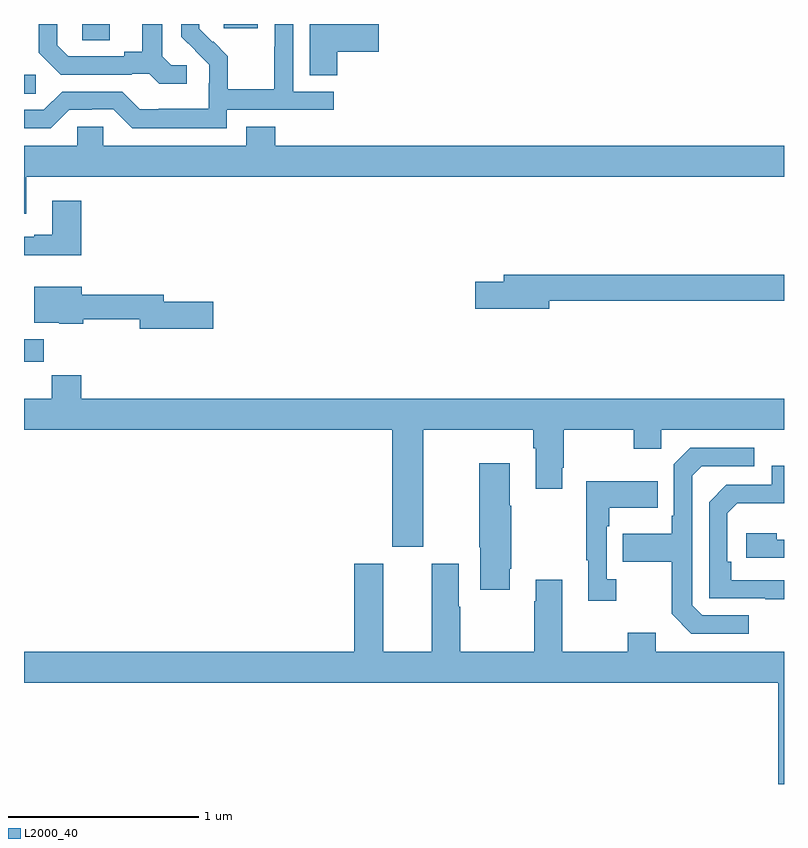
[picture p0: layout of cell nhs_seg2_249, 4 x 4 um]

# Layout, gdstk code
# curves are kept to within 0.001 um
import gdstk
lib = gdstk.Library(unit=1e-6, precision=1e-09)
def R(c, l, rs):  # rectangles x0, y0, x1, y1
    for r in rs: c.add(gdstk.rectangle(r[:2], r[2:], *l))
def P(c, l, *ps):  # polygons
    for p in ps: c.add(gdstk.Polygon(p, *l))
L2000_40 = (2000, 40)

nhs_seg2_249 = lib.new_cell('nhs_seg2_249')
R(nhs_seg2_249, L2000_40, [(123,620.022,123.104,620.14), (123,621.433,123.061,621.534), (123.306,621.715,123.451,621.8), (124.052,621.777,124.231,621.8)])
P(nhs_seg2_249, L2000_40, [(124.649,621.653),(124.867,621.653),(124.867,621.8),(124.505,621.8),(124.505,621.529),(124.649,621.529)],
  [(123.856,621.582),(123.774,621.582),(123.727,621.629),(123.727,621.8),(123.623,621.8),(123.623,621.653),(123.527,621.653),(123.527,621.63),(123.232,621.63),(123.175,621.687),(123.175,621.8),(123.078,621.8),(123.078,621.65),(123.194,621.534),(123.566,621.534),(123.566,621.537),(123.66,621.537),(123.712,621.485),(123.856,621.485)],
  [(124.068,621.348),(124.63,621.348),(124.63,621.444),(124.416,621.444),(124.416,621.8),(124.32,621.8),(124.32,621.68),(124.318,621.68),(124.318,621.457),(124.073,621.457),(124.073,621.631),(123.996,621.708),(123.993,621.705),(123.923,621.776),(123.923,621.8),(123.828,621.8),(123.828,621.734),(123.974,621.586),(123.974,621.489),(123.972,621.489),(123.972,621.355),(123.709,621.355),(123.709,621.351),(123.609,621.351),(123.516,621.444),(123.201,621.444),(123.105,621.348),(123,621.348),(123,621.252),(123.141,621.252),(123.237,621.348),(123.356,621.348),(123.356,621.351),(123.471,621.351),(123.571,621.251),(124.068,621.251)],
  [(123.013,620.996),(127,620.996),(127,621.16),(124.322,621.16),(124.322,621.259),(124.169,621.259),(124.169,621.16),(123.417,621.16),(123.417,621.258),(123.279,621.258),(123.279,621.16),(123,621.16),(123,620.802),(123.013,620.802)],
  [(123.302,620.869),(123.149,620.869),(123.149,620.692),(123.053,620.692),(123.053,620.679),(123,620.679),(123,620.582),(123.302,620.582)],
  [(125.764,620.344),(127,620.344),(127,620.48),(125.525,620.48),(125.525,620.444),(125.376,620.444),(125.376,620.302),(125.764,620.302)],
  [(123.997,620.339),(123.736,620.339),(123.736,620.375),(123.304,620.375),(123.304,620.416),(123.053,620.416),(123.053,620.228),(123.186,620.228),(123.186,620.222),(123.312,620.222),(123.312,620.247),(123.608,620.247),(123.608,620.197),(123.997,620.197)],
  [(125.101,619.664),(125.681,619.664),(125.681,619.568),(125.693,619.568),(125.693,619.353),(125.833,619.353),(125.833,619.465),(125.841,619.465),(125.841,619.664),(126.208,619.664),(126.208,619.565),(126.354,619.565),(126.354,619.664),(127,619.664),(127,619.828),(123.302,619.828),(123.302,619.952),(123.145,619.952),(123.145,619.828),(123,619.828),(123,619.664),(124.937,619.664),(124.937,619.05),(125.101,619.05)],
  [(126.814,618.687),(126.57,618.687),(126.516,618.741),(126.516,619.422),(126.567,619.473),(126.844,619.473),(126.844,619.569),(126.507,619.569),(126.42,619.482),(126.42,619.213),(126.408,619.213),(126.408,619.117),(126.151,619.117),(126.151,618.97),(126.408,618.97),(126.408,618.697),(126.513,618.591),(126.814,618.591)],
  [(125.557,618.934),(125.565,618.934),(125.565,619.265),(125.557,619.265),(125.557,619.489),(125.395,619.489),(125.395,619.045),(125.402,619.045),(125.402,618.822),(125.557,618.822)],
  [(127,618.873),(126.722,618.873),(126.722,618.97),(126.702,618.97),(126.702,619.224),(126.755,619.277),(127,619.277),(127,619.476),(126.936,619.476),(126.936,619.374),(126.696,619.374),(126.606,619.284),(126.606,618.777),(126.901,618.777),(126.901,618.772),(127,618.772)],
  [(126.118,618.878),(126.066,618.878),(126.066,619.157),(126.079,619.157),(126.079,619.253),(126.335,619.253),(126.335,619.393),(125.958,619.393),(125.958,618.977),(125.969,618.977),(125.969,618.765),(126.118,618.765)],
  [(127,619.086),(126.962,619.086),(126.962,619.12),(126.801,619.12),(126.801,618.99),(127,618.99)],
  [(127,618.496),(126.325,618.496),(126.325,618.595),(126.178,618.595),(126.178,618.496),(125.833,618.496),(125.833,618.874),(125.693,618.874),(125.693,618.761),(125.686,618.761),(125.686,618.496),(125.295,618.496),(125.295,618.734),(125.287,618.734),(125.287,618.958),(125.147,618.958),(125.147,618.496),(124.891,618.496),(124.891,618.958),(124.739,618.958),(124.739,618.496),(123,618.496),(123,618.332),(126.971,618.332),(126.971,617.8),(127,617.8)])

lib.write_gds('nhs_seg2_249.gds')
